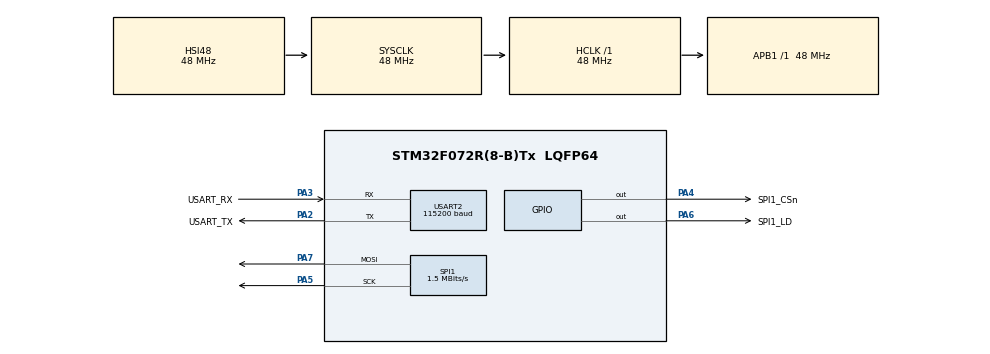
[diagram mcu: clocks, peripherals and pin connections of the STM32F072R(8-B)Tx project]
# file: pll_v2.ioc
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Mcu.Family=STM32F0
Mcu.Name=STM32F072R(8-B)Tx
Mcu.Package=LQFP64
NVIC.USART2_IRQn=true\:0\:0\:false\:false\:true\:true\:true\:true
PA13.GPIO_Label=TMS
PA13.Mode=Serial_Wire
PA13.Signal=SYS_SWDIO
PA14.GPIO_Label=TCK
PA14.Mode=Serial_Wire
PA14.Signal=SYS_SWCLK
PA2.GPIO_Label=USART_TX
PA2.GPIO_Mode=GPIO_MODE_AF_PP
PA2.GPIO_PuPd=GPIO_NOPULL
PA2.GPIO_Speed=GPIO_SPEED_FREQ_LOW
PA2.Mode=Asynchronous
PA2.Signal=USART2_TX
PA3.GPIO_Label=USART_RX
PA3.GPIO_Mode=GPIO_MODE_AF_PP
PA3.GPIO_PuPd=GPIO_NOPULL
PA3.GPIO_Speed=GPIO_SPEED_FREQ_LOW
PA3.Mode=Asynchronous
PA3.Signal=USART2_RX
PA4.GPIO_Label=SPI1_CSn
PA4.Signal=GPIO_Output
PA5.Mode=TX_Only_Simplex_Unidirect_Master
PA5.Signal=SPI1_SCK
PA6.GPIO_Label=SPI1_LD
PA6.Signal=GPIO_Output
PA7.Mode=TX_Only_Simplex_Unidirect_Master
PA7.Signal=SPI1_MOSI
PC14-OSC32_IN.Mode=LSE-External-Oscillator
PC14-OSC32_IN.Signal=RCC_OSC32_IN
PC15-OSC32_OUT.Mode=LSE-External-Oscillator
PC15-OSC32_OUT.Signal=RCC_OSC32_OUT
PF0-OSC_IN.Mode=HSE-External-Clock-Source
PF0-OSC_IN.Signal=RCC_OSC_IN
PF1-OSC_OUT.Signal=RCC_OSC_OUT
ProjectManager.HeapSize=0x200
ProjectManager.StackSize=0x400
ProjectManager.TargetToolchain=STM32CubeIDE
RCC.AHBFreq_Value=48000000
RCC.APB1Freq_Value=48000000
RCC.APB1TimFreq_Value=48000000
RCC.FLatency-AdvancedSettings=FLASH_LATENCY_1
RCC.HCLKFreq_Value=48000000
RCC.PLLDivider=RCC_PREDIV_DIV2
RCC.PLLMUL=RCC_PLL_MUL12
RCC.PREFETCH_ENABLE-AdvancedSettings=1
RCC.SYSCLKFreq_VALUE=48000000
RCC.SYSCLKSource=RCC_SYSCLKSOURCE_HSI48
SPI1.BaudRatePrescaler=SPI_BAUDRATEPRESCALER_32
SPI1.CalculateBaudRate=1.5 MBits/s
SPI1.DataSize=SPI_DATASIZE_8BIT
SPI1.Direction=SPI_DIRECTION_2LINES
SPI1.Mode=SPI_MODE_MASTER
SPI1.NSSPMode=SPI_NSS_PULSE_DISABLE
SPI1.VirtualType=VM_MASTER
USART2.BaudRate=115200
USART2.VirtualMode=VM_ASYNC
USART2.VirtualMode-Asynchronous=VM_ASYNC
board=NUCLEO-F072RB

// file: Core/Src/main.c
/* USER CODE BEGIN Header */
/**
  ******************************************************************************
  * @file           : main.c
  * @brief          : Main program body
  ******************************************************************************
  * @attention
  *
  * Copyright (c) 2025 STMicroelectronics.
  * All rights reserved.
  *
  * This software is licensed under terms that can be found in the LICENSE file
  * in the root directory of this software component.
  * If no LICENSE file comes with this software, it is provided AS-IS.
  *
  ******************************************************************************
  */
/* USER CODE END Header */
#include "main.h"

/* USER CODE BEGIN Includes */

#include "ringbuffer.h"
#include "adf4351.h"

/* USER CODE END Includes */

SPI_HandleTypeDef hspi1;

UART_HandleTypeDef huart2;

/* USER CODE BEGIN PV */
ringbuf_uint8t uart2_rx_rb;
uint8_t uart2_tmp_rx_char;
#define uart2_rx_buffer_size 6
uint8_t uart2_rx_buffer[uart2_rx_buffer_size];

// Auto frequency hopping variables
uint32_t freq_hop_timer = 0;
uint8_t freq_hop_enabled = 1;  // Set to 0 to disable auto hopping
uint8_t freq_index = 0;

// Define frequency list (in Hz)
const uint64_t frequency_list[] = {
//		 500000000ULL	// 500.0 MHz
		1000000000ULL,  // 1.000 GHz
//		1000100000ULL,  // 1.100 GHz
//		1000200000ULL,  // 1.000 GHz
//		1000300000ULL,  // 1.100 GHz
//		1000400000ULL,  // 1.000 GHz
//		1000500000ULL,  // 1.100 GHz
};
const uint8_t frequency_list_size = sizeof(frequency_list) / sizeof(frequency_list[0]);

/* USER CODE END PV */

void SystemClock_Config(void);
static void MX_GPIO_Init(void);
static void MX_USART2_UART_Init(void);
static void MX_SPI1_Init(void);

int main(void)
{

  /* MCU Configuration--------------------------------------------------------*/

  /* Reset of all peripherals, Initializes the Flash interface and the Systick. */
  HAL_Init();

  /* Configure the system clock */
  SystemClock_Config();

  /* Initialize all configured peripherals */
  MX_GPIO_Init();
  MX_USART2_UART_Init();
  MX_SPI1_Init();
  /* USER CODE BEGIN 2 */

    HAL_GPIO_WritePin(SPI1_CSn_GPIO_Port, SPI1_CSn_Pin, 1);
    HAL_GPIO_WritePin(SPI1_LD_GPIO_Port, SPI1_LD_Pin, 1);

      rb_init(&uart2_rx_rb, uart2_rx_buffer, uart2_rx_buffer_size);
      cmd_sm_init();
      send_ident();
      // enable receive interrupt for UART1
        HAL_UART_Receive_IT(&huart2, &uart2_tmp_rx_char, 1 );

  /* USER CODE END 2 */

  /* Infinite loop */
  /* USER CODE BEGIN WHILE */
        int loop_counter = 0;

  while (1)
  {
	  	  cmd_sm_update();

	  	  // Automatic frequency hopping every 2 seconds
	  	  if (freq_hop_enabled) {
	  	      if (HAL_GetTick() - freq_hop_timer >= 8000) {  // 2000 ms = 2 seconds
	  	          freq_hop_timer = HAL_GetTick();

	  	          // Set next frequency
	  	          adf4350_out_altvoltage0_frequency(frequency_list[freq_index]);

	  	          // Send notification via UART
	  	          char msg[50];
	  	          sprintf(msg, "\r\nFreq: %llu Hz\r\n", frequency_list[freq_index]);
	  	          HAL_UART_Transmit(&huart2, (uint8_t*)msg, strlen(msg), 1000);

	  	          // Move to next frequency
	  	          freq_index++;
	  	          if (freq_index >= frequency_list_size) {
	  	              freq_index = 0;  // Wrap around to start
	  	          }
	  	      }
	  	  }

//	  int data=0xFF;
	  	  		//main loop heart beat LED..
	  	  		if ( loop_counter == 100000 ) {
	  //	  			HAL_GPIO_TogglePin(LD2_GPIO_Port, LD2_Pin );
//	  	  			HAL_GPIO_TogglePin(SPI1_CSn_GPIO_Port, SPI1_CSn_Pin );
//
//	  	  			HAL_SPI_Transmit(&hspi1, &data, 1, 1000);
	  	  			loop_counter = 0;
	  	  		} else {
	  	  			++loop_counter;
	  	  		}

    /* USER CODE END WHILE */

  }
}

void SystemClock_Config(void)
{
  RCC_OscInitTypeDef RCC_OscInitStruct = {0};
  RCC_ClkInitTypeDef RCC_ClkInitStruct = {0};
  RCC_PeriphCLKInitTypeDef PeriphClkInit = {0};

  /** Initializes the RCC Oscillators according to the specified parameters
  * in the RCC_OscInitTypeDef structure.
  */
  RCC_OscInitStruct.OscillatorType = RCC_OSCILLATORTYPE_HSI48;
  RCC_OscInitStruct.HSI48State = RCC_HSI48_ON;
  RCC_OscInitStruct.PLL.PLLState = RCC_PLL_NONE;
  if (HAL_RCC_OscConfig(&RCC_OscInitStruct) != HAL_OK)
  {
    Error_Handler();
  }

  /** Initializes the CPU, AHB and APB buses clocks
  */
  RCC_ClkInitStruct.ClockType = RCC_CLOCKTYPE_HCLK|RCC_CLOCKTYPE_SYSCLK
                              |RCC_CLOCKTYPE_PCLK1;
  RCC_ClkInitStruct.SYSCLKSource = RCC_SYSCLKSOURCE_HSI48;
  RCC_ClkInitStruct.AHBCLKDivider = RCC_SYSCLK_DIV1;
  RCC_ClkInitStruct.APB1CLKDivider = RCC_HCLK_DIV1;

  if (HAL_RCC_ClockConfig(&RCC_ClkInitStruct, FLASH_LATENCY_1) != HAL_OK)
  {
    Error_Handler();
  }
  PeriphClkInit.PeriphClockSelection = RCC_PERIPHCLK_USART2;
  PeriphClkInit.Usart2ClockSelection = RCC_USART2CLKSOURCE_PCLK1;
  if (HAL_RCCEx_PeriphCLKConfig(&PeriphClkInit) != HAL_OK)
  {
    Error_Handler();
  }
}

static void MX_SPI1_Init(void)
{

  /* SPI1 parameter configuration*/
  hspi1.Instance = SPI1;
  hspi1.Init.Mode = SPI_MODE_MASTER;
  hspi1.Init.Direction = SPI_DIRECTION_2LINES;
  hspi1.Init.DataSize = SPI_DATASIZE_8BIT;
  hspi1.Init.CLKPolarity = SPI_POLARITY_LOW;
  hspi1.Init.CLKPhase = SPI_PHASE_1EDGE;
  hspi1.Init.NSS = SPI_NSS_SOFT;
  hspi1.Init.BaudRatePrescaler = SPI_BAUDRATEPRESCALER_64;
  hspi1.Init.FirstBit = SPI_FIRSTBIT_MSB;
  hspi1.Init.TIMode = SPI_TIMODE_DISABLE;
  hspi1.Init.CRCCalculation = SPI_CRCCALCULATION_DISABLE;
  hspi1.Init.CRCPolynomial = 7;
  hspi1.Init.CRCLength = SPI_CRC_LENGTH_DATASIZE;
  hspi1.Init.NSSPMode = SPI_NSS_PULSE_DISABLE;
  if (HAL_SPI_Init(&hspi1) != HAL_OK)
  {
    Error_Handler();
  }

}

static void MX_USART2_UART_Init(void)
{

  huart2.Instance = USART2;
  huart2.Init.BaudRate = 115200;
  huart2.Init.WordLength = UART_WORDLENGTH_8B;
  huart2.Init.StopBits = UART_STOPBITS_1;
  huart2.Init.Parity = UART_PARITY_NONE;
  huart2.Init.Mode = UART_MODE_TX_RX;
  huart2.Init.HwFlowCtl = UART_HWCONTROL_NONE;
  huart2.Init.OverSampling = UART_OVERSAMPLING_16;
  huart2.Init.OneBitSampling = UART_ONE_BIT_SAMPLE_DISABLE;
  huart2.AdvancedInit.AdvFeatureInit = UART_ADVFEATURE_NO_INIT;
  if (HAL_UART_Init(&huart2) != HAL_OK)
  {
    Error_Handler();
  }

}

static void MX_GPIO_Init(void)
{
  GPIO_InitTypeDef GPIO_InitStruct = {0};

  /* GPIO Ports Clock Enable */
  __HAL_RCC_GPIOC_CLK_ENABLE();
  __HAL_RCC_GPIOF_CLK_ENABLE();
  __HAL_RCC_GPIOA_CLK_ENABLE();

  /*Configure GPIO pin Output Level */
  HAL_GPIO_WritePin(GPIOA, SPI1_CSn_Pin|SPI1_LD_Pin, GPIO_PIN_RESET);

  /*Configure GPIO pins : SPI1_CSn_Pin SPI1_LD_Pin */
  GPIO_InitStruct.Pin = SPI1_CSn_Pin|SPI1_LD_Pin;
  GPIO_InitStruct.Mode = GPIO_MODE_OUTPUT_PP;
  GPIO_InitStruct.Pull = GPIO_NOPULL;
  GPIO_InitStruct.Speed = GPIO_SPEED_FREQ_LOW;
  HAL_GPIO_Init(GPIOA, &GPIO_InitStruct);

}

/* USER CODE BEGIN 4 */
// UART receive interrupt callback
void HAL_UART_RxCpltCallback(UART_HandleTypeDef *huart)
{
  /* Prevent unused argument(s) compilation warning */
  //UNUSED(huart);
  // add received char to ring buffer.
  rb_put(&uart2_rx_rb, uart2_tmp_rx_char );
  // kick off the next read
  HAL_UART_Receive_IT(&huart2, &uart2_tmp_rx_char, 1 );
}

adf4350_init_param pll_config;

void cmd_sm_init() {
  // initialize pll_config structure
  pll_config.clkin = 25e6;
  pll_config.channel_spacing = 100000;
  pll_config.power_up_frequency = 75e6;
  pll_config.reference_div_factor = 1;
  pll_config.reference_doubler_enable = 0;
  pll_config.reference_div2_enable = 0;
  pll_config.phase_detector_polarity_positive_enable = 1;
  pll_config.lock_detect_precision_6ns_enable = 0; // 10 ns
  pll_config.lock_detect_function_integer_n_enable = 0; // Fractional pll
  pll_config.charge_pump_current = 7; //2.50
  pll_config.muxout_select = 6; // Digital Lock Detect Out
  pll_config.low_spur_mode_enable = 1; // higher noise, lower spurs.
  pll_config.cycle_slip_reduction_enable = 0;
  pll_config.charge_cancellation_enable = 0;
  pll_config.anti_backlash_3ns_enable = 0;
  pll_config.band_select_clock_mode_high_enable = 0; // low
  pll_config.clk_divider_12bit = 0;
  pll_config.clk_divider_mode = 0;
  pll_config.aux_output_enable = 0;
  pll_config.aux_output_fundamental_enable = 0;
  pll_config.mute_till_lock_enable = 0;
  pll_config.output_power = 3; // +2 dBm
  pll_config.aux_output_power = 0;
  adf4350_out_altvoltage0_powerdown(0); // power down PLL
  adf4350_setup(pll_config);
}

// temp storage for received number.
char cmdbuffer[15];
int cmdbuf_idx = 0;

// A simple atoi() function
int64_t numvec_atoi(char *str)
{
    int64_t res = 0; // Initialize result
    // Iterate through all characters of input string and
    // update result
    for (int i = 0; (str[i] != '\0') && (i < 16); ++i)
        res = res*10 + str[i] - '0';
    // return result.
    return res;
}

int isNumber(uint8_t c) {
	if (( c >= 0x30 ) && (c <= 0x39 )) {
		return 1;
	} else {
		return 0;
	}
}

void send_error_response() {
	// send ?; chars as error indicator..
	HAL_UART_Transmit(&huart2, (uint8_t*)"?;", 2, 100);
}

void send_accept_response() {
	// send k; chars as error indicator..
	HAL_UART_Transmit(&huart2, (uint8_t*)"k;", 2, 100);
}

char ident_string[] = "ADF4351 PLL Controller v1 (Auto-hop enabled);";

void send_ident() {
	HAL_UART_Transmit(&huart2, (uint8_t*)ident_string, sizeof(ident_string)-1, 1000);
}

void process_command() {
	uint64_t freq_hz=150e6;
	if ( cmdbuf_idx == 0 ) {
		// empty command buffer means no-op
		return;
	}
	switch(cmdbuffer[0]) {
	case 'f':
		// process freq set command
		freq_hz = numvec_atoi(&cmdbuffer[1]);
		adf4350_out_altvoltage0_frequency( freq_hz );
		send_accept_response();
		break;
	case 'n':
		// active no-op command
		send_accept_response();
		break;
	case 'i':
		// ident command
		send_ident();
		break;
	case 'd':
		// power down PLL
		adf4350_out_altvoltage0_powerdown(1); // power down PLL
		send_accept_response();
		break;
	case 'u':
		// power up PLL
		adf4350_out_altvoltage0_powerdown(0); // power up PLL
		send_accept_response();
		break;
	case 'a':
		// enable auto frequency hopping
		freq_hop_enabled = 1;
		freq_hop_timer = HAL_GetTick();  // Reset timer
		HAL_UART_Transmit(&huart2, (uint8_t*)"Auto-hop ON;", 12, 100);
		break;
	case 's':
		// disable (stop) auto frequency hopping
		freq_hop_enabled = 0;
		HAL_UART_Transmit(&huart2, (uint8_t*)"Auto-hop OFF;", 13, 100);
		break;
	default:
		// return error
		send_error_response();
	}
}

void cmd_sm_update() {
  // see if there is any chars to be processed..
  if ( rb_isempty(&uart2_rx_rb) == 0 ) {
	uint8_t byte_in='?';
	// get a byte from rx ring buffer.
	rb_get(&uart2_rx_rb, &byte_in);
	// echo char being processed
	HAL_UART_Transmit(&huart2, &byte_in, 1, 100);
    if ( cmdbuf_idx > 20 ) {
	  cmdbuf_idx = 0; // reset buffer
	  send_error_response();
	} else {
	  if ( byte_in != ';') {
		if ( (cmdbuf_idx==0 ) && (isNumber(byte_in)==1) ) {
			// error state, commands do not start with numbers.
			send_error_response();
		}
	    // add byte to cmd buffer
		cmdbuffer[cmdbuf_idx] = byte_in;
		cmdbuf_idx++;
	  } else {
	    // byte_in = ';' end of command
		// add null to end
		cmdbuffer[cmdbuf_idx] = 0;
		process_command();
		cmdbuf_idx=0;
	  }
	}
  }
}

/* USER CODE END 4 */

void Error_Handler(void)
{
  __disable_irq();
  while (1)
  {
  }
}
